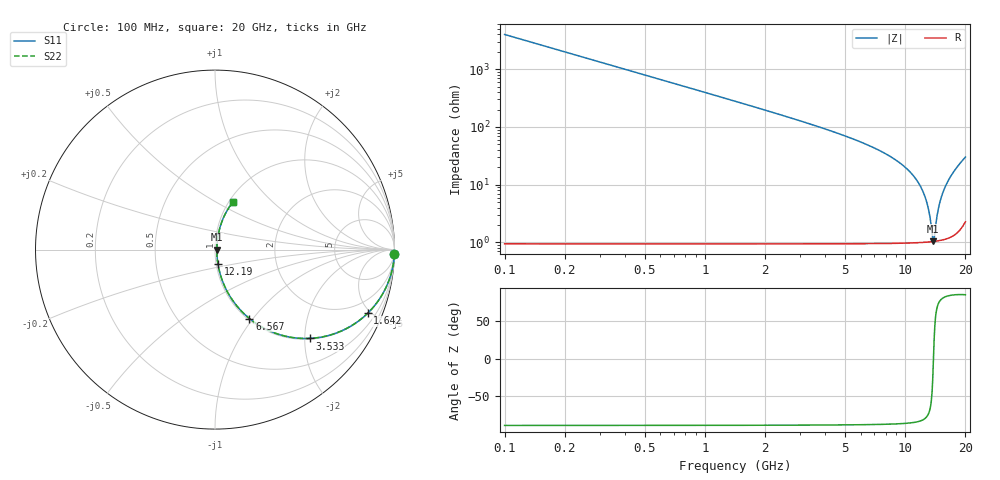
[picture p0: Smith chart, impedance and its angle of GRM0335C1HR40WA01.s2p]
!Murata Part Number: GRM0335C1HR40WA01
!These Parameters are Measured in Series Mode Connection
!Data Generated on Mar 30, 2021
!  o--ll--o
!Port1  Port2
!  o------o
!Operation Temp=25[degC], DC Bias Voltage=0[V]
!Freq. Start=100[MHz] Stop=20[GHz] 401[Steps]
# Hz S RI R 50
!Freq.(Hz) S11(Real) S11(Imag) S21(Real) S21(Imag) S12(Real) S12(Imag) S22(Real) S22(Imag)
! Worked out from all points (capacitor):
!   401 points, 100 MHz to 20 GHz, reference 50 ohm
!   read as one part in series: C = 400 fF near 199.5 MHz
!   lowest |Z| = 1.05 ohm at 13.83 GHz (marker M1)
!   series resonance near 13.86 GHz, so ESL is about 330 pH
!   S11 on the Smith chart (normalised r, x): 100 MHz: 1, -80; 1.642 GHz: 1.02, -4.78; 3.533 GHz: 1.02, -2.12; 6.567 GHz: 1.02, -0.96; 12.19 GHz: 1.02, -0.16; 20 GHz: 1.05, +0.60
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1e8  0.9994 -0.0251  0.000637 0.0251  0.000637 0.0251  0.9994 -0.0251
3.4875e8  0.9923 -0.087  0.0077 0.087  0.0077 0.087  0.9923 -0.087
5.975e8  0.9777 -0.147  0.0223 0.147  0.0223 0.147  0.9777 -0.147
1.04525e9  0.9343 -0.2466  0.0657 0.2466  0.0657 0.2466  0.9343 -0.2466
1.64225e9  0.8502 -0.3549  0.1498 0.3549  0.1498 0.3549  0.8502 -0.3549
3.43325e9  0.5443 -0.4937  0.4557 0.4937  0.4557 0.4937  0.5443 -0.4937
3.53275e9  0.5285 -0.4947  0.4715 0.4947  0.4715 0.4947  0.5285 -0.4947
4.9755e9  0.3339 -0.4649  0.6661 0.4649  0.6661 0.4649  0.3339 -0.4649
6.5675e9  0.1918 -0.3839  0.8082 0.3839  0.8082 0.3839  0.1918 -0.3839
6.7665e9  0.1784 -0.3725  0.8216 0.3725  0.8216 0.3725  0.1784 -0.3725
1.005e10  0.0462 -0.1867  0.9538 0.1867  0.9538 0.1867  0.0462 -0.1867
1.1244e10  0.0257 -0.1247  0.9743 0.1247  0.9743 0.1247  0.0257 -0.1247
1.218925e10  0.0161 -0.078  0.9839 0.078  0.9839 0.078  0.0161 -0.078
1.288575e10  0.0121 -0.0448  0.9879 0.0448  0.9879 0.0448  0.0121 -0.0448
1.338325e10  0.0106 -0.0216  0.9894 0.0216  0.9894 0.0216  0.0106 -0.0216
1.3831e10  0.0103 -0.00114  0.9897 0.00114  0.9897 0.00114  0.0103 -0.00114
1.398025e10  0.0104 0.00563  0.9896 -0.00563  0.9896 -0.00563  0.0104 0.00563
1.45275e10  0.0115 0.0302  0.9886 -0.0302  0.9886 -0.0302  0.0115 0.0302
1.497525e10  0.0133 0.05  0.9867 -0.05  0.9867 -0.05  0.0133 0.05
1.57215e10  0.0181 0.0827  0.9819 -0.0827  0.9819 -0.0827  0.0181 0.0827
1.67165e10  0.0282 0.1256  0.9718 -0.1256  0.9718 -0.1256  0.0282 0.1256
2e10  0.0997 0.264  0.9003 -0.264  0.9003 -0.264  0.0997 0.264
